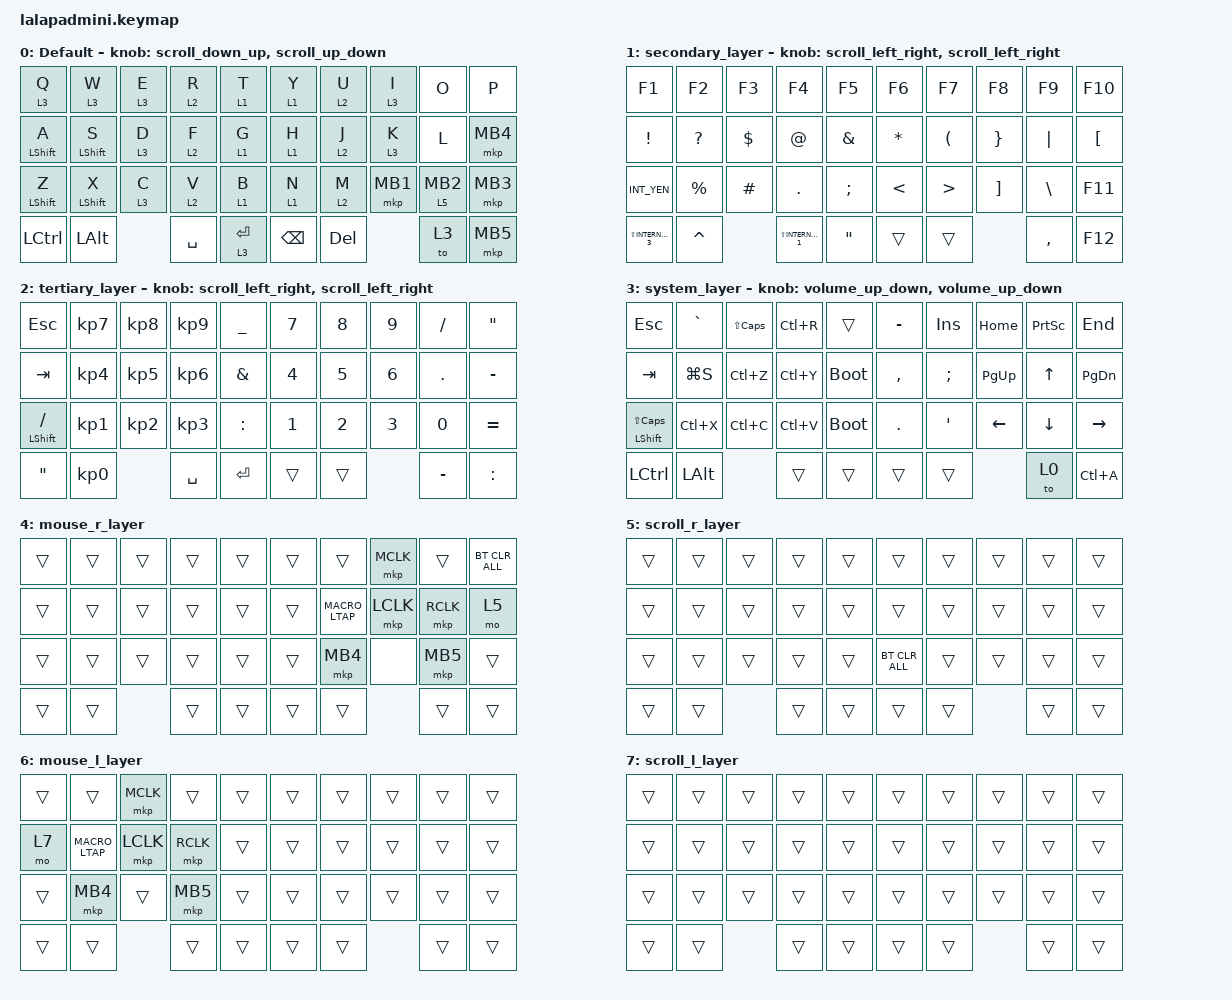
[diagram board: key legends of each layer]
#include <input/processors.dtsi>
#include <dt-bindings/input/input-event-codes.h>
#include <behaviors.dtsi>
#include <dt-bindings/zmk/bt.h>
#include <dt-bindings/zmk/keys.h>
#include <dt-bindings/zmk/pointing.h>

#define DEFAULT_LAYER   0
#define SECONDARY_LAYER 1
#define TERTIARY_LAYER  2
#define SYSTEM_LAYER    3
#define MOUSE_R_LAYER   4
#define SCROLL_R_LAYER  5
#define MOUSE_L_LAYER   6
#define SCROLL_L_LAYER  7

// Mouse Scroll Value

#define ZMK_POINTING_DEFAULT_SCRL_VAL 100

// cirque trackpad input&layer control

&glidepoint_listener_R {
    input-processors =
        <&zip_xy_transform INPUT_TRANSFORM_X_INVERT>,
        //<&zip_xy_transform (INPUT_TRANSFORM_XY_SWAP | INPUT_TRANSFORM_X_INVERT | INPUT_TRANSFORM_Y_INVERT)>,,,,,
        <&zip_xy_scaler 6 5>,
        // デフォルトレイヤー: 左クリック,,,
        //<&zip_button_behaviors &mkp MB1>;,,,
        //<&zip_button_behaviors &mouse_click>;,,,
        <&zip_temp_layer MOUSE_R_LAYER 300>;

    lowspeedmode {
        layers = <SECONDARY_LAYER>;
        input-processors =
            <&zip_xy_transform INPUT_TRANSFORM_X_INVERT>,
            //<&zip_xy_transform (INPUT_TRANSFORM_XY_SWAP | INPUT_TRANSFORM_X_INVERT | INPUT_TRANSFORM_Y_INVERT)>,,,,,
            <&zip_xy_scaler 3 5>,
            <&zip_temp_layer MOUSE_R_LAYER 300>;
    };

    scroller {
        layers = <SCROLL_R_LAYER>;
        input-processors =
            <&zip_xy_to_scroll_mapper>,
            //<&zip_scroll_transform (INPUT_TRANSFORM_XY_SWAP | INPUT_TRANSFORM_Y_INVERT)>,,,,,
            <&zip_scroll_scaler 1 32>;
    };
};

&glidepoint_listener_L {
    input-processors =
        <&zip_xy_transform INPUT_TRANSFORM_X_INVERT>,
        //<&zip_xy_transform (INPUT_TRANSFORM_XY_SWAP | INPUT_TRANSFORM_X_INVERT | INPUT_TRANSFORM_Y_INVERT)>,,,,,
        <&zip_xy_scaler 3 2>,
        <&zip_temp_layer MOUSE_L_LAYER 300>;

    lowspeedmode {
        layers = <TERTIARY_LAYER>;
        input-processors =
            <&zip_xy_transform INPUT_TRANSFORM_X_INVERT>,
            //<&zip_xy_transform (INPUT_TRANSFORM_XY_SWAP | INPUT_TRANSFORM_X_INVERT | INPUT_TRANSFORM_Y_INVERT)>,,,,,
            <&zip_xy_scaler 3 4>,
            <&zip_temp_layer MOUSE_L_LAYER 300>;
    };

    scroller {
        layers = <SCROLL_L_LAYER>;
        input-processors =
            <&zip_xy_to_scroll_mapper>,
            //<&zip_scroll_transform (INPUT_TRANSFORM_XY_SWAP | INPUT_TRANSFORM_Y_INVERT)>,,,,,
            <&zip_scroll_scaler 1 32>;
    };
};

&mt {
    quick-tap-ms = <0>;
    flavor = "balanced";
};

/ {
    behaviors {
        // Encoder to Mouse Scroll

        scroll_up_down: behavior_sensor_rotate_mouse_wheel_up_down {
            compatible = "zmk,behavior-sensor-rotate";
            #sensor-binding-cells = <0>;
            bindings = <&msc SCRL_UP>, <&msc SCRL_DOWN>;

            tap-ms = <20>;
        };

        scroll_down_up: behavior_sensor_rotate_mouse_wheel_down_up {
            compatible = "zmk,behavior-sensor-rotate";
            #sensor-binding-cells = <0>;
            bindings = <&msc SCRL_DOWN>, <&msc SCRL_UP>;

            tap-ms = <20>;
        };

        scroll_left_right: behavior_sensor_rotate_mouse_wheel_left_right {
            compatible = "zmk,behavior-sensor-rotate";
            #sensor-binding-cells = <0>;
            bindings = <&msc SCRL_LEFT>, <&msc SCRL_RIGHT>;

            tap-ms = <20>;
        };

        scroll_right_left: behavior_sensor_rotate_mouse_wheel_right_left {
            compatible = "zmk,behavior-sensor-rotate";
            #sensor-binding-cells = <0>;
            bindings = <&msc SCRL_RIGHT>, <&msc SCRL_LEFT>;

            tap-ms = <20>;
        };

        volume_up_down: behavior_sensor_rotate_volume_up_down {
            compatible = "zmk,behavior-sensor-rotate";
            #sensor-binding-cells = <0>;
            bindings = <&kp C_VOLUME_UP>, <&kp C_VOLUME_DOWN>;

            tap-ms = <20>;
        };

        mt2: mod_tap2 {
            compatible = "zmk,behavior-hold-tap";
            #binding-cells = <2>;
            flavor = "tap-preferred";
            tapping-term-ms = <200>;
            quick-tap-ms = <200>;
            require-prior-idle-ms = <125>;
            bindings = <&kp>, <&kp>;
        };

        tap_dance_layer_1and2: tap_dance_layer_1and2 {
            compatible = "zmk,behavior-tap-dance";
            label = "td_mo12";
            #binding-cells = <0>;
            bindings = <&mo 1>, <&mo 2>;
        };

        layer_mkp: layer_mkp {
            compatible = "zmk,behavior-hold-tap";
            label = "LAYER_MKP";
            bindings = <&mo>, <&mkp>;

            #binding-cells = <2>;
            tapping-term-ms = <200>;
        };

        mouse_click: mouse_click {
            compatible = "zmk,behavior-tap-dance";
            label = "MOUSE_CLICK";
            #binding-cells = <0>;
            bindings = <&mkp MB1>, <&mouse_click_macro>, <&mkp MB2>;
        };
    };

    combos {
        compatible = "zmk,combos";

        CONBO_ESC {
            bindings = <&kp ESCAPE>;
            key-positions = <0 1>;
        };

        COMBO_TAB {
            bindings = <&kp TAB>;
            key-positions = <10 11>;
        };

        CapsLock {
            bindings = <&kp LS(CAPSLOCK)>;
            key-positions = <20 21>;
        };
    };

    macros {
        MACRO_LTAP: MACRO_LTAP {
            compatible = "zmk,behavior-macro";
            #binding-cells = <0>;
            bindings = <&mkp LCLK>;
            label = "MACRO_LTAP";
        };

        mouse_click_macro: mouse_click_macro {
            compatible = "zmk,behavior-macro";
            #binding-cells = <0>;
            bindings = <&mkp MB1 &mkp MB1>;
            label = "MOUSE_CLICK_MACRO";
        };
    };

    input_processors {
        zip_right_click_trigger_paste: zip_right_click_trigger_paste {
            compatible = "zmk,input-processor-behaviors";
            #input-processor-cells = <0>;
            codes = <INPUT_BTN_1>;
            bindings = <&kp LC(V)  >;

            //bindings = <&mouse_click>;
        };
    };

    keymap {
        compatible = "zmk,keymap";

        DEFAULT_LAYER {
            display-name = "Default";
            sensor-bindings = <&scroll_down_up>, <&scroll_up_down>;

            bindings = <
&lt 3 Q           &lt 3 W           &lt 3 E  &lt 2 R    &lt 1 T      &lt 1 Y        &lt 2 U     &lt 3 I   &kp O             &kp P
&mt LEFT_SHIFT A  &mt LEFT_SHIFT S  &lt 3 D  &lt 2 F    &lt 1 G      &lt 1 H        &lt 2 J     &lt 3 K   &kp L             &mkp MB4
&mt LEFT_SHIFT Z  &mt LEFT_SHIFT X  &lt 3 C  &lt 2 V    &lt 1 B      &lt 1 N        &lt 2 M     &mkp MB1  &layer_mkp 5 MB2  &mkp MB3
&kp LCTRL         &kp LEFT_ALT               &kp SPACE  &lt 3 ENTER  &kp BACKSPACE  &kp DELETE            &to 3             &mkp MB5
            >;
        };

        SECONDARY_LAYER {
            display-name = "secondary_layer";
            sensor-bindings = <&scroll_left_right>, <&scroll_left_right>;

            bindings = <
&kp F1                   &kp F2        &kp F3      &kp F4                   &kp F5             &kp F6         &kp F7                &kp F8             &kp F9         &kp F10
&kp EXCLAMATION          &kp QUESTION  &kp DOLLAR  &kp AT_SIGN              &kp AMPERSAND      &kp ASTERISK   &kp LEFT_PARENTHESIS  &kp RIGHT_BRACE    &kp PIPE       &kp LEFT_BRACKET
&kp INT_YEN              &kp PERCENT   &kp HASH    &kp PERIOD               &kp SEMICOLON      &kp LESS_THAN  &kp GREATER_THAN      &kp RIGHT_BRACKET  &kp BACKSLASH  &kp F11
&kp LS(INTERNATIONAL_3)  &kp CARET                 &kp LS(INTERNATIONAL_1)  &kp DOUBLE_QUOTES  &trans         &trans                                   &kp COMMA      &kp F12
            >;
        };

        TERTIARY_LAYER {
            display-name = "tertiary_layer";
            bindings = <
&kp ESCAPE            &kp KP_NUMBER_7  &kp KP_NUMBER_8  &kp KP_NUMBER_9  &kp UNDERSCORE  &kp N7  &kp N8  &kp N9  &kp SLASH   &kp DOUBLE_QUOTES
&kp TAB               &kp KP_NUMBER_4  &kp KP_NUMBER_5  &kp KP_NUMBER_6  &kp AMPERSAND   &kp N4  &kp N5  &kp N6  &kp PERIOD  &kp MINUS
&mt LEFT_SHIFT SLASH  &kp KP_NUMBER_1  &kp KP_NUMBER_2  &kp KP_NUMBER_3  &kp COLON       &kp N1  &kp N2  &kp N3  &kp N0      &kp EQUAL
&kp DOUBLE_QUOTES     &kp KP_NUMBER_0                   &kp SPACE        &kp ENTER       &trans  &trans          &kp MINUS   &kp COLON
            >;

            sensor-bindings = <&scroll_left_right>, <&scroll_left_right>;
        };

        SYSTEM_LAYER {
            display-name = "system_layer";
            sensor-bindings = <&volume_up_down>, <&volume_up_down>;

            bindings = <
&kp ESCAPE               &kp GRAVE     &kp LS(CAPS)  &kp LC(R)  &trans       &kp MINUS   &kp INS        &kp HOME        &kp PRINTSCREEN  &kp END
&kp TAB                  &kp LG(S)     &kp LC(Z)     &kp LC(Y)  &bootloader  &kp COMMA   &kp SEMICOLON  &kp PAGE_UP     &kp UP_ARROW     &kp PAGE_DOWN
&mt LEFT_SHIFT LS(CAPS)  &kp LC(X)     &kp LC(C)     &kp LC(V)  &bootloader  &kp PERIOD  &kp SQT        &kp LEFT_ARROW  &kp DOWN_ARROW   &kp RIGHT_ARROW
&kp LEFT_CONTROL         &kp LEFT_ALT                &trans     &trans       &trans      &trans                         &to 0            &kp LC(A)
            >;
        };

        MOUSE_R_LAYER {
            display-name = "mouse_r_layer";
            bindings = <
&trans  &trans  &trans  &trans  &trans  &trans  &trans       &mkp MCLK  &trans     &bt BT_CLR_ALL
&trans  &trans  &trans  &trans  &trans  &trans  &MACRO_LTAP  &mkp LCLK  &mkp RCLK  &mo 5
&trans  &trans  &trans  &trans  &trans  &trans  &mkp MB4     &none      &mkp MB5   &trans
&trans  &trans          &trans  &trans  &trans  &trans                  &trans     &trans
            >;
        };

        SCROLL_R_LAYER {
            display-name = "scroll_r_layer";
            bindings = <
&trans  &trans  &trans  &trans  &trans  &trans          &trans  &trans  &trans  &trans
&trans  &trans  &trans  &trans  &trans  &trans          &trans  &trans  &trans  &trans
&trans  &trans  &trans  &trans  &trans  &bt BT_CLR_ALL  &trans  &trans  &trans  &trans
&trans  &trans          &trans  &trans  &trans          &trans          &trans  &trans
            >;
        };

        MOUSE_L_LAYER {
            display-name = "mouse_l_layer";
            bindings = <
&trans  &trans       &mkp MCLK  &trans     &trans  &trans  &trans  &trans  &trans  &trans
&mo 7   &MACRO_LTAP  &mkp LCLK  &mkp RCLK  &trans  &trans  &trans  &trans  &trans  &trans
&trans  &mkp MB4     &trans     &mkp MB5   &trans  &trans  &trans  &trans  &trans  &trans
&trans  &trans                  &trans     &trans  &trans  &trans          &trans  &trans
            >;
        };

        SCROLL_L_LAYER {
            display-name = "scroll_l_layer";
            bindings = <
&trans  &trans  &trans  &trans  &trans  &trans  &trans  &trans  &trans  &trans
&trans  &trans  &trans  &trans  &trans  &trans  &trans  &trans  &trans  &trans
&trans  &trans  &trans  &trans  &trans  &trans  &trans  &trans  &trans  &trans
&trans  &trans          &trans  &trans  &trans  &trans          &trans  &trans
            >;
        };
    };

    conditional_layers { compatible = "zmk,conditional-layers"; };
};
